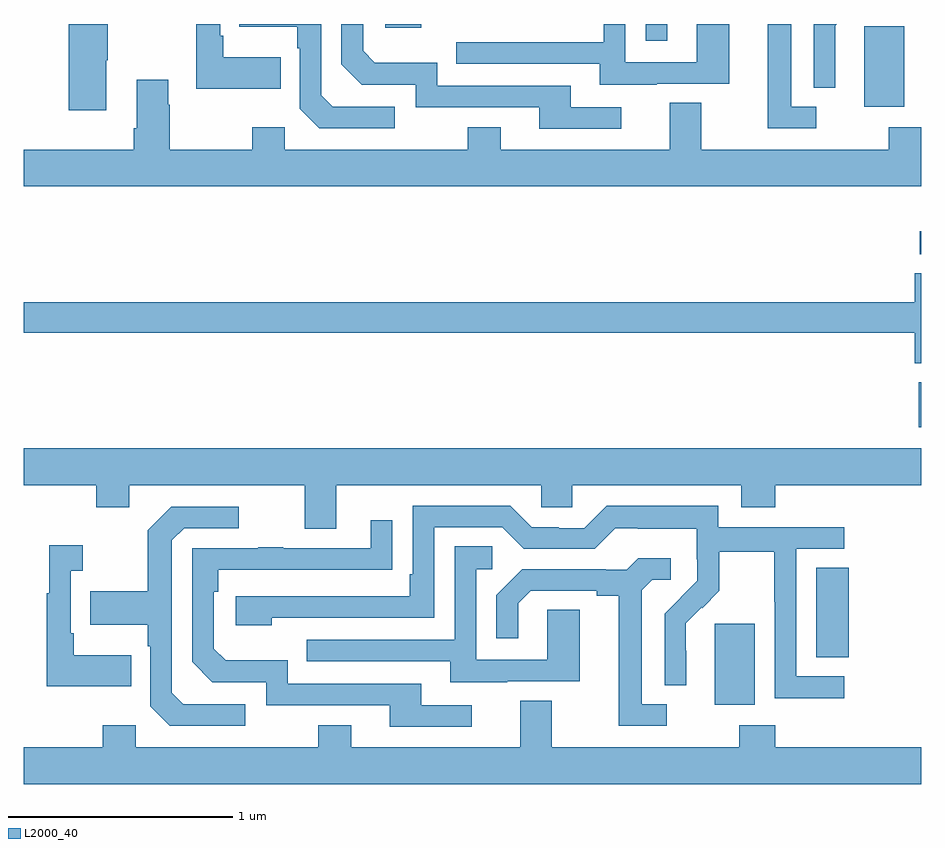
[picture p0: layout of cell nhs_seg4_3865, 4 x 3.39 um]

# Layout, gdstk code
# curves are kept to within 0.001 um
import gdstk
lib = gdstk.Library(unit=1e-6, precision=1e-09)
def R(c, l, rs):  # rectangles x0, y0, x1, y1
    for r in rs: c.add(gdstk.rectangle(r[:2], r[2:], *l))
def P(c, l, *ps):  # polygons
    for p in ps: c.add(gdstk.Polygon(p, *l))
L2000_40 = (2000, 40)

nhs_seg4_3865 = lib.new_cell('nhs_seg4_3865')
R(nhs_seg4_3865, L2000_40, [(318.08,771.866,318.259,772.227), (318.533,772.078,318.677,772.475), (318.989,773.103,319,773.302), (318.993,773.873,319,773.977), (318.746,774.53,318.925,774.891), (317.772,774.825,317.869,774.9), (316.611,774.884,316.772,774.9)])
P(nhs_seg4_3865, L2000_40, [(315.367,774.739),(315.375,774.739),(315.375,774.9),(315.2,774.9),(315.2,774.516),(315.367,774.516)],
  [(318.532,774.531),(318.421,774.531),(318.421,774.9),(318.317,774.9),(318.317,774.435),(318.532,774.435)],
  [(318.618,774.77),(318.617,774.77),(318.617,774.893),(318.624,774.9),(318.522,774.9),(318.522,774.616),(318.618,774.616)],
  [(317.662,774.528),(317.437,774.528),(317.437,774.624),(316.842,774.624),(316.842,774.727),(316.565,774.727),(316.512,774.78),(316.512,774.9),(316.416,774.9),(316.416,774.72),(316.506,774.63),(316.746,774.63),(316.746,774.528),(317.297,774.528),(317.297,774.432),(317.662,774.432)],
  [(317.821,774.633),(318.145,774.633),(318.145,774.9),(318,774.9),(318,774.729),(317.682,774.729),(317.682,774.9),(317.586,774.9),(317.586,774.819),(316.927,774.819),(316.927,774.723),(317.567,774.723),(317.567,774.629),(317.821,774.629)],
  [(316.145,774.751),(315.889,774.751),(315.889,774.847),(315.876,774.847),(315.876,774.9),(315.768,774.9),(315.768,774.611),(316.145,774.611)],
  [(316.654,774.531),(316.377,774.531),(316.326,774.582),(316.326,774.9),(315.961,774.9),(315.961,774.887),(316.218,774.887),(316.218,774.791),(316.23,774.791),(316.23,774.522),(316.317,774.435),(316.654,774.435)],
  [(319,774.439),(318.856,774.439),(318.856,774.34),(318.019,774.34),(318.019,774.548),(317.879,774.548),(317.879,774.34),(317.125,774.34),(317.125,774.439),(316.978,774.439),(316.978,774.34),(316.164,774.34),(316.164,774.439),(316.018,774.439),(316.018,774.34),(315.651,774.34),(315.651,774.539),(315.643,774.539),(315.643,774.652),(315.503,774.652),(315.503,774.436),(315.491,774.436),(315.491,774.34),(315,774.34),(315,774.176),(319,774.176)],
  [(319,773.788),(318.971,773.788),(318.971,773.66),(315,773.66),(315,773.524),(318.971,773.524),(318.971,773.387),(319,773.387)],
  [(316.393,772.844),(317.307,772.844),(317.307,772.746),(317.445,772.746),(317.445,772.844),(318.197,772.844),(318.197,772.745),(318.35,772.745),(318.35,772.844),(319,772.844),(319,773.008),(315,773.008),(315,772.844),(315.322,772.844),(315.322,772.745),(315.469,772.745),(315.469,772.844),(316.253,772.844),(316.253,772.65),(316.393,772.65)],
  [(318.658,771.993),(318.444,771.993),(318.444,772.56),(318.658,772.56),(318.658,772.656),(318.096,772.656),(318.096,772.753),(317.599,772.753),(317.499,772.653),(317.384,772.653),(317.384,772.656),(317.265,772.656),(317.169,772.752),(316.734,772.752),(316.734,772.447),(316.721,772.447),(316.721,772.35),(315.945,772.35),(315.945,772.22),(316.106,772.22),(316.106,772.254),(316.83,772.254),(316.83,772.656),(317.133,772.656),(317.229,772.56),(317.544,772.56),(317.637,772.653),(317.737,772.653),(317.737,772.649),(318,772.649),(318,772.515),(318.002,772.515),(318.002,772.418),(317.856,772.27),(317.856,771.952),(317.952,771.952),(317.951,772.229),(318.021,772.299),(318.024,772.296),(318.101,772.373),(318.101,772.548),(318.346,772.548),(318.346,772.324),(318.348,772.324),(318.348,771.895),(318.658,771.895)],
  [(315.988,771.867),(315.711,771.867),(315.66,771.918),(315.66,772.599),(315.714,772.653),(315.958,772.653),(315.958,772.749),(315.657,772.749),(315.552,772.643),(315.552,772.371),(315.295,772.371),(315.295,772.223),(315.552,772.223),(315.552,772.127),(315.564,772.127),(315.564,771.858),(315.651,771.771),(315.988,771.771)],
  [(316.996,771.864),(316.771,771.864),(316.771,771.96),(316.176,771.96),(316.176,772.063),(315.899,772.063),(315.846,772.116),(315.846,772.37),(315.866,772.37),(315.866,772.467),(316.643,772.468),(316.643,772.687),(316.547,772.687),(316.547,772.563),(316.157,772.563),(316.157,772.568),(316.045,772.568),(316.045,772.563),(315.75,772.563),(315.75,772.056),(315.84,771.966),(316.08,771.966),(316.08,771.864),(316.631,771.864),(316.631,771.768),(316.996,771.768)],
  [(315.479,772.087),(315.223,772.087),(315.223,772.183),(315.21,772.183),(315.21,772.463),(315.262,772.463),(315.262,772.576),(315.113,772.576),(315.113,772.363),(315.102,772.363),(315.102,771.947),(315.479,771.947)],
  [(317.155,771.969),(317.479,771.969),(317.479,772.289),(317.334,772.289),(317.334,772.065),(317.016,772.065),(317.016,772.47),(317.089,772.47),(317.089,772.571),(316.92,772.571),(316.92,772.155),(316.261,772.155),(316.261,772.059),(316.901,772.059),(316.901,771.965),(317.155,771.965)],
  [(317.866,771.867),(317.755,771.867),(317.755,772.375),(317.802,772.422),(317.884,772.422),(317.884,772.519),(317.74,772.519),(317.688,772.467),(317.594,772.467),(317.594,772.47),(317.222,772.47),(317.106,772.354),(317.106,772.161),(317.203,772.161),(317.203,772.317),(317.26,772.374),(317.555,772.374),(317.555,772.352),(317.651,772.352),(317.651,771.771),(317.866,771.771)],
  [(319,771.676),(318.35,771.676),(318.35,771.775),(318.19,771.775),(318.19,771.676),(317.353,771.676),(317.353,771.884),(317.213,771.884),(317.213,771.676),(316.459,771.676),(316.459,771.775),(316.312,771.775),(316.312,771.676),(315.498,771.676),(315.498,771.775),(315.352,771.775),(315.352,771.676),(315,771.676),(315,771.512),(319,771.512)])

lib.write_gds('nhs_seg4_3865.gds')
